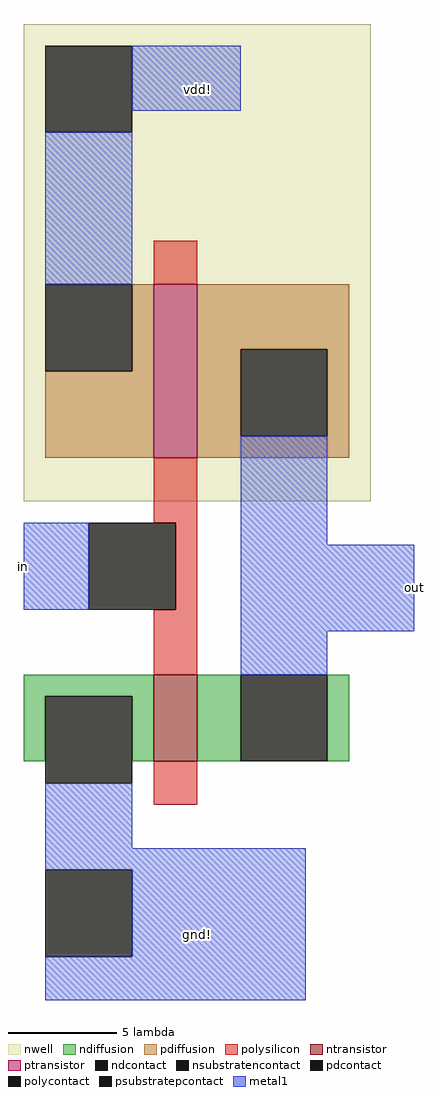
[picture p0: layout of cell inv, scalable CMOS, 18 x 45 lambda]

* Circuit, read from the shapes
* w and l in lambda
.subckt inv gnd! in out vdd!
M1 out in gnd! gnd! nfet w=4 l=2
M2 out in vdd! vdd! pfet w=8 l=2
.ends

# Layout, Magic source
magic
tech scmos
<< nwell >>
rect -10 0 6 22
<< polysilicon >>
rect -4 10 -2 12
rect -4 -1 -2 2
rect -3 -5 -2 -1
rect -4 -8 -2 -5
rect -4 -14 -2 -12
<< ndiffusion >>
rect -10 -9 -4 -8
rect -10 -12 -9 -9
rect -5 -12 -4 -9
rect -2 -12 0 -8
rect 4 -12 5 -8
<< pdiffusion >>
rect -5 6 -4 10
rect -9 2 -4 6
rect -2 7 5 10
rect -2 3 0 7
rect 4 3 5 7
rect -2 2 5 3
<< metal1 >>
rect -5 18 0 21
rect -9 10 -5 17
rect -10 -5 -7 -1
rect 0 -2 4 3
rect 0 -6 8 -2
rect 0 -8 4 -6
rect -9 -16 -5 -13
rect -9 -17 3 -16
rect -5 -21 3 -17
rect -9 -23 3 -21
<< ntransistor >>
rect -4 -12 -2 -8
<< ptransistor >>
rect -4 2 -2 10
<< polycontact >>
rect -7 -5 -3 -1
<< ndcontact >>
rect -9 -13 -5 -9
rect 0 -12 4 -8
<< pdcontact >>
rect -9 6 -5 10
rect 0 3 4 7
<< psubstratepcontact >>
rect -9 -21 -5 -17
<< nsubstratencontact >>
rect -9 17 -5 21
<< labels >>
rlabel metal1 -2 -20 -2 -20 1 gnd!
rlabel metal1 -2 19 -2 19 5 vdd!
rlabel metal1 -10 -5 -10 -1 3 in
rlabel metal1 8 -6 8 -2 7 out
<< end >>
